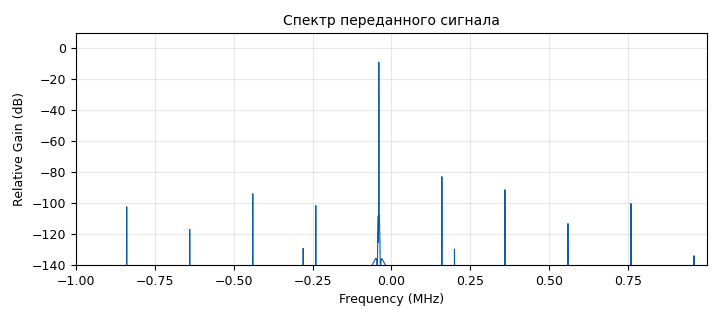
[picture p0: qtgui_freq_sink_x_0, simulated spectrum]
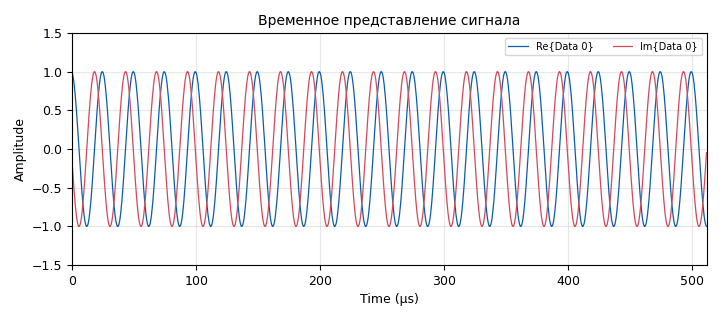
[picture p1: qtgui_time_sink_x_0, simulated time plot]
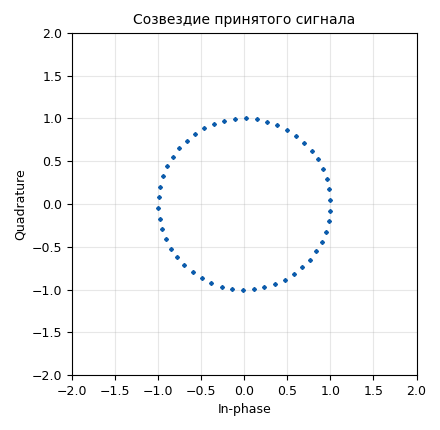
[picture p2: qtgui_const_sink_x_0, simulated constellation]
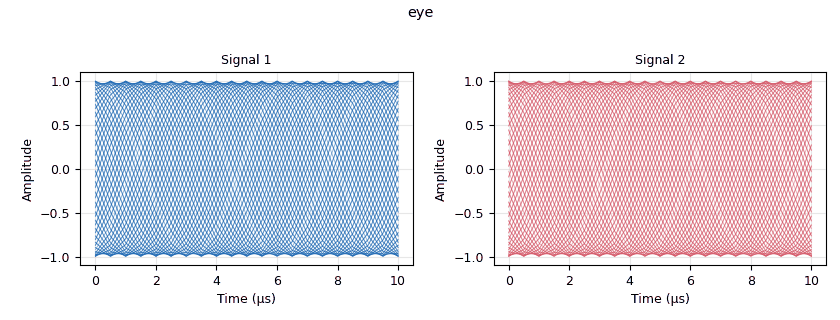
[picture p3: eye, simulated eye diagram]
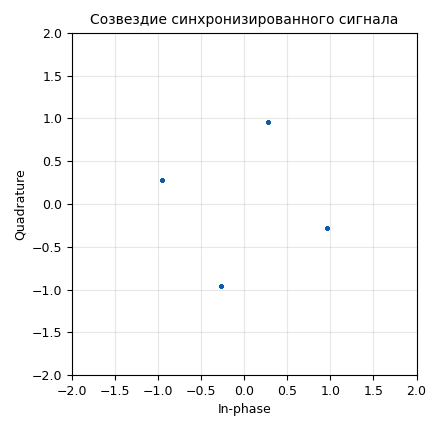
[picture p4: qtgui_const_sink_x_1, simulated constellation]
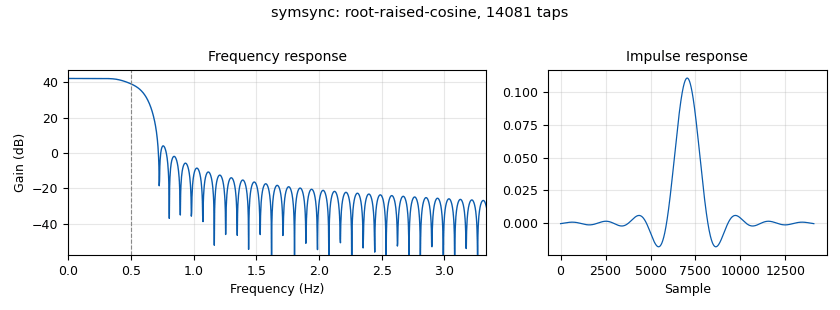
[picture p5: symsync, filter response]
options:
  parameters:
    author: Lab5
    generate_options: qt_gui
    id: lab5_2_7_10_8psk_two_sixes
    output_language: python
    title: 'ЛР5 п.2.7.10  8PSK: передача «6, 6»'
  states: {}

blocks:
- name: samp_rate
  id: variable
  parameters:
    value: 2e6
  states: {}
- name: sps
  id: variable
  parameters:
    value: '10'
  states: {}
- name: alpha
  id: variable
  parameters:
    value: '0.4'
  states: {}
- name: Rs
  id: variable
  parameters:
    value: samp_rate/sps
  states: {}
- name: psk
  id: variable_constellation
  parameters:
    sym_map: '[0, 1, 2, 3, 4, 5, 6, 7]'
    const_points: '[0.924+0.383j, 0.383+0.924j, -0.383+0.924j, -0.924+0.383j, -0.924-0.383j, -0.383-0.924j, 0.383-0.924j, 0.924-0.383j]'
    rot_sym: '8'
    dims: '1'
    normalization: digital.constellation.AMPLITUDE_NORMALIZATION
    precision: '8'
    type: calcdist
  states: {}
- name: N
  id: variable
  parameters:
    value: '1'
  states: {}
- name: src
  id: blocks_vector_source_x
  parameters:
    vector: (6, 6)
    repeat: 'True'
    type: byte
  states: {}
- name: pack
  id: blocks_unpacked_to_packed_xx
  parameters:
    bits_per_chunk: '3'
    type: byte
    endianness: gr.GR_MSB_FIRST
  states: {}
- name: mod
  id: digital_constellation_modulator
  parameters:
    differential: 'True'
    samples_per_symbol: sps
    excess_bw: alpha
    constellation: psk
  states: {}
- name: blocks_throttle2_0
  id: blocks_throttle2
  parameters:
    samples_per_second: samp_rate
    type: complex
  states: {}
- name: noise
  id: variable_qtgui_range
  parameters:
    value: '0'
    start: '0'
    stop: '1'
    step: '0.001'
    label: '"Noise Voltage, В"'
  states: {}
- name: channel
  id: channels_channel_model
  parameters:
    noise_voltage: noise
    freq_offset: N*10e3/samp_rate
    epsilon: '1.0'
    taps: '1.0'
    seed: '0'
  states: {}
- name: vsink
  id: virtual_sink
  parameters:
    stream_id: psk
  states: {}
- name: vsrc
  id: virtual_source
  parameters:
    stream_id: psk
  states: {}
- name: qtgui_freq_sink_x_0
  id: qtgui_freq_sink_x
  parameters:
    type: complex
    name: '"Спектр переданного сигнала"'
    fftsize: '8192'
    fc: '0'
    bw: samp_rate
    grid: 'True'
    average: '0.1'
  states: {}
- name: qtgui_time_sink_x_0
  id: qtgui_time_sink_x
  parameters:
    type: complex
    name: '"Временное представление сигнала"'
    size: '1024'
    srate: samp_rate
    grid: 'True'
    ymin: '-1.5'
    ymax: '1.5'
    tr_slope: qtgui.TRIG_MODE_POS
  states: {}
- name: qtgui_const_sink_x_0
  id: qtgui_const_sink_x
  parameters:
    type: complex
    name: '"Созвездие принятого сигнала"'
    size: '1024'
    grid: 'True'
    tr_slope: qtgui.TRIG_MODE_POS
  states: {}
- name: fll
  id: digital_fll_band_edge_cc
  parameters:
    type: cc
    samps_per_sym: sps
    rolloff: alpha
    filter_size: '44'
    w: '0.00628'
  states: {}
- name: symsync
  id: digital_symbol_sync_xx
  parameters:
    constellation: psk
    sps: sps
    ted_gain: '1.0'
    loop_bw: '0.045'
    damping: '1'
    max_dev: '1.5'
    osps: '1'
    nfilters: '128'
    pfb_mf_taps: firdes.root_raised_cosine(128, 128*sps, 1.0, alpha, 11*sps*128)
    type: cc
    ted_type: digital.TED_GARDNER
    resamp_type: digital.IR_PFB_MF
  states: {}
- name: eye
  id: qtgui_eye_sink_x
  parameters:
    type: complex
    size: '2048'
    samp_per_symbol: sps
    srate: samp_rate
    grid: 'True'
    autoscale: 'True'
    ymin: '-2'
    ymax: '2'
    tr_slope: qtgui.TRIG_MODE_POS
  states: {}
- name: costas
  id: digital_costas_loop_cc
  parameters:
    w: '0.251'
    order: '8'
  states: {}
- name: qtgui_const_sink_x_1
  id: qtgui_const_sink_x
  parameters:
    type: complex
    name: '"Созвездие синхронизированного сигнала"'
    size: '1024'
    grid: 'True'
    tr_slope: qtgui.TRIG_MODE_POS
  states: {}
- name: decoder
  id: digital_constellation_decoder_cb
  parameters:
    constellation: psk
  states: {}
- name: diff_dec
  id: digital_diff_decoder_bb
  parameters:
    coding: digital.DIFF_DIFFERENTIAL
    modulus: '8'
  states: {}
- name: blocks_uchar_to_float_0
  id: blocks_uchar_to_float
  parameters: {}
  states: {}
- name: qtgui_time_sink_x_1
  id: qtgui_time_sink_x
  parameters:
    type: float
    name: '"Принятые символы"'
    size: '100'
    srate: Rs
    grid: 'True'
    ymax: '8'
    tr_slope: qtgui.TRIG_MODE_POS
  states: {}
- name: blocks_uchar_to_float_1
  id: blocks_uchar_to_float
  parameters: {}
  states: {}
- name: qtgui_time_sink_x_2
  id: qtgui_time_sink_x
  parameters:
    type: float
    name: '"Переданные символы"'
    size: '100'
    srate: Rs
    grid: 'True'
    ymax: '8'
    tr_slope: qtgui.TRIG_MODE_POS
  states: {}

connections:
- [src, '0', pack, '0']
- [pack, '0', mod, '0']
- [mod, '0', blocks_throttle2_0, '0']
- [blocks_throttle2_0, '0', channel, '0']
- [channel, '0', vsink, '0']
- [channel, '0', qtgui_freq_sink_x_0, '0']
- [channel, '0', qtgui_time_sink_x_0, '0']
- [vsrc, '0', qtgui_const_sink_x_0, '0']
- [vsrc, '0', fll, '0']
- [fll, '0', symsync, '0']
- [symsync, '0', eye, '0']
- [symsync, '0', costas, '0']
- [costas, '0', qtgui_const_sink_x_1, '0']
- [costas, '0', decoder, '0']
- [decoder, '0', diff_dec, '0']
- [diff_dec, '0', blocks_uchar_to_float_0, '0']
- [blocks_uchar_to_float_0, '0', qtgui_time_sink_x_1, '0']
- [src, '0', blocks_uchar_to_float_1, '0']
- [blocks_uchar_to_float_1, '0', qtgui_time_sink_x_2, '0']

metadata:
  file_format: 1
  grc_version: 3.10.12.0
